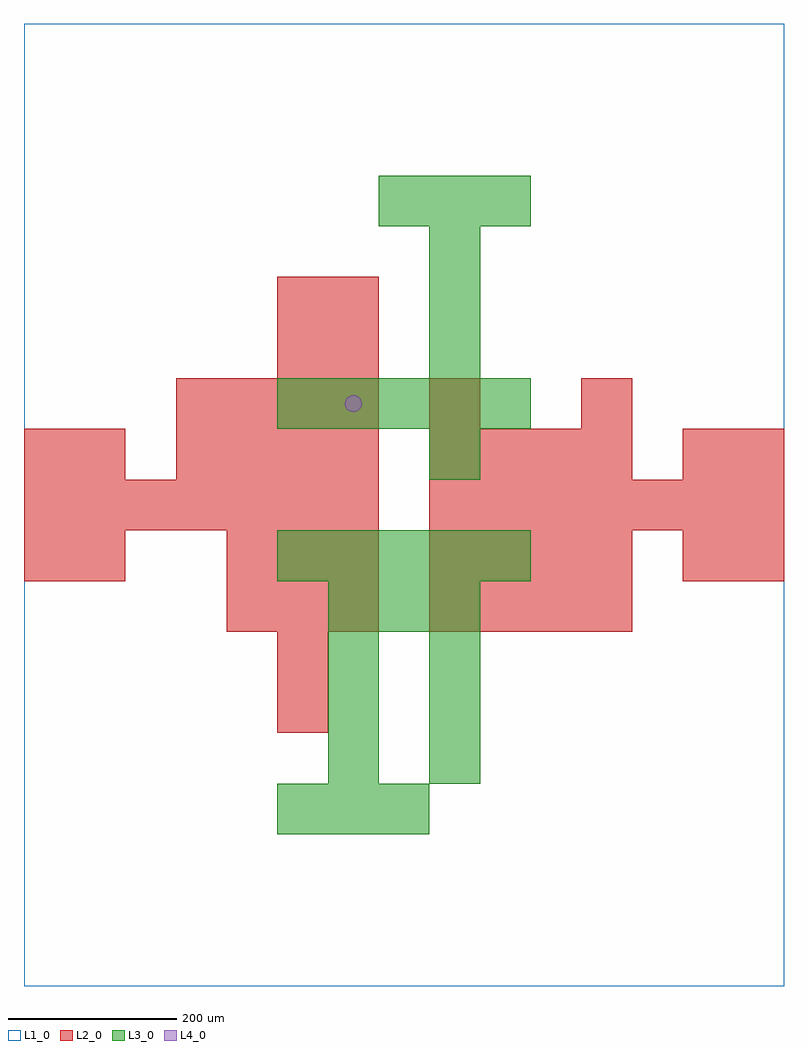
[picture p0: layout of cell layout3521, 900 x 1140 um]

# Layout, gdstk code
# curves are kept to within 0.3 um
import gdstk
lib = gdstk.Library(unit=1e-6, precision=1e-09)
def R(c, l, rs):  # rectangles x0, y0, x1, y1
    for r in rs: c.add(gdstk.rectangle(r[:2], r[2:], *l))
def A(c, l, x, y, w, h, nx, ny, dx, dy):  # array of equal rectangles
    R(c, l, [(x+i*dx, y+j*dy, x+i*dx+w, y+j*dy+h) for i in range(nx) for j in range(ny)])
def P(c, l, *ps):  # polygons
    for p in ps: c.add(gdstk.Polygon(p, *l))
L1_0 = (1, 0)
L2_0 = (2, 0)
L3_0 = (3, 0)
L4_0 = (4, 0)

layout3521 = lib.new_cell('layout3521')
R(layout3521, L1_0, [(0,0,900,1140)])
A(layout3521, L2_0, 240, 420, 60, 60, 3, 2, 60, 60)
A(layout3521, L2_0, 480, 420, 60, 60, 4, 2, 60, 60)
A(layout3521, L2_0, 0, 540, 60, 60, 7, 1, 60, 0)
A(layout3521, L2_0, 480, 540, 60, 60, 7, 1, 60, 0)
A(layout3521, L2_0, 180, 600, 60, 60, 4, 2, 60, 60)
A(layout3521, L2_0, 480, 600, 60, 60, 4, 1, 60, 0)
R(layout3521, L2_0, [(300,300,360,360), (300,360,360,420), (0,480,60,540), (60,480,120,540), (780,480,840,540), (840,480,900,540), (0,600,60,660), (60,600,120,660), (780,600,840,660), (840,600,900,660), (480,660,540,720), (660,660,720,720), (300,720,360,780), (360,720,420,780), (300,780,360,840), (360,780,420,840)])
A(layout3521, L3_0, 300, 180, 60, 60, 3, 1, 60, 0)
A(layout3521, L3_0, 360, 240, 60, 60, 1, 3, 0, 60)
A(layout3521, L3_0, 480, 240, 60, 60, 1, 3, 0, 60)
A(layout3521, L3_0, 360, 420, 60, 60, 3, 1, 60, 0)
A(layout3521, L3_0, 300, 480, 60, 60, 5, 2, 60, 180)
A(layout3521, L3_0, 480, 720, 60, 60, 1, 3, 0, 60)
A(layout3521, L3_0, 420, 900, 60, 60, 3, 1, 60, 0)
R(layout3521, L3_0, [(480,600,540,660)])
P(layout3521, L4_0, [(400,690),(399.239,693.827),(397.071,697.071),(393.827,699.239),(390,700),(386.173,699.239),(382.929,697.071),(380.761,693.827),(380,690),(380.761,686.173),(382.929,682.929),(386.173,680.761),(390,680),(393.827,680.761),(397.071,682.929),(399.239,686.173)])

lib.write_gds('layout3521.gds')
